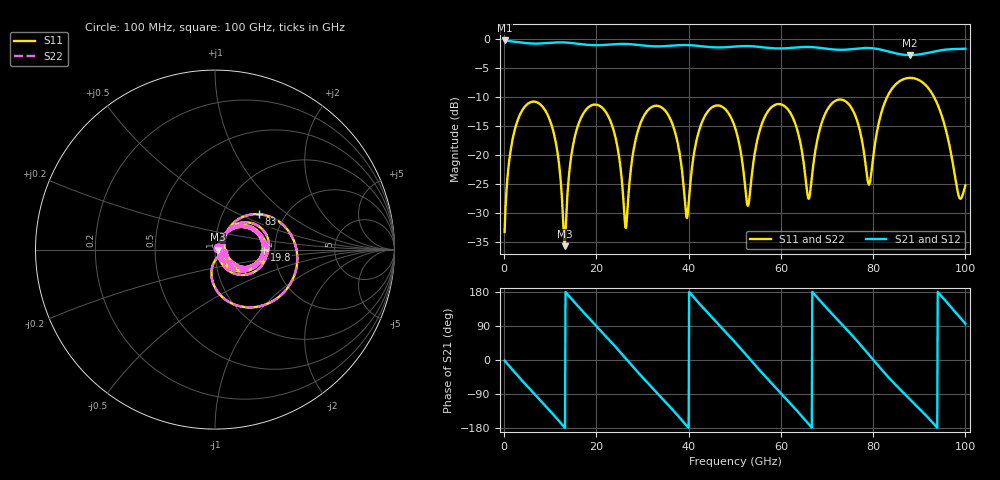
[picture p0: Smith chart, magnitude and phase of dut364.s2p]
! Touchstone file exported from HFSS 2026.1.0
!  File:  C:/ffzhzh/LocalFiles/Ansys_Project_Files/temp_train_TSV_RDL_364_1783711155_44652.aedt
!  Generated:  03:50:13 AM Jul 11, 2026
!  Design:  TSV_RDL
!  Project:  temp_train_TSV_RDL_364_1783711155_44652
! Variables:
!  h_bsmrdl = 2.7um
!  h_ox = 20um
!  h_rdl = 5um
!  h_sub = 54.17um
!  h_tmrdl = 3.55um
!  h_tsv = 54.17um
!  h_via = 3um
!  l_bsmrdl = 614.85um
!  l_sub = 4841.45um
!  l_tmrdl = 605.17um
!  m_sub = 200um
!  pitch = 40.06um
!  r_tsv = 6.21um
!  s_tmrdl = 10um
!  w_bsmrdl = 29.79um
!  w_sub = 500um
!  w_tmrdl = 28.95um
!  x_tsv_center1 = 619.645um
!  x_tsv_center2 = 1264.285um
!  x_tsv_center3 = 1898.405um
!  x_tsv_center4 = 2543.045um
!  x_tsv_center5 = 3177.165um
!  x_tsv_center6 = 3821.805um
# GHz S MA R 50.000000
! Terminal data exported
! Port[1] = TM_RDL1_1_T1
! Port[2] = TM_RDL5_1_T1
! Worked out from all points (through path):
!   1000 points, 100 MHz to 100 GHz, reference 50 ohm
!   highest |S21| = -0.17 dB at 100 MHz (marker M1); lowest = -2.7 dB at 88 GHz (marker M2)
!   group delay of S21, straight-line fit = 37.3 ps
!   lowest |S11| = -35.8 dB at 13.1 GHz (marker M3), VSWR 1.03, Z = 51.6 - j0.0549 ohm
!   |S11| at or under -10 dB: start of sweep to 83.01 GHz; 93.22 GHz to end of sweep
!   |S22| runs from -35.8 to -6.7 dB; largest |S21 - S12| = 5.3e-13
!   S11 on the Smith chart (normalised r, x): 100 MHz: 1.04, +0.02; 19.8 GHz: 1.75, -0.01; 83 GHz: 1.48, +0.65; 100 GHz: 1.11, -0.05
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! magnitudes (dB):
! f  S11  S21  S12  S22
! 100 MHz  -33.4  -0.2  -0.2  -33.4
! 2.3 GHz  -15.6  -0.4  -0.4  -15.6
! 6.6 GHz  -10.8  -0.7  -0.7  -10.8
! 10.7 GHz  -16.0  -0.5  -0.5  -16.0
! 13.1 GHz  -35.8  -0.5  -0.5  -35.8
! 16.8 GHz  -13.4  -0.8  -0.8  -13.4
! 19.8 GHz  -11.3  -1.0  -1.0  -11.3
! 26.4 GHz  -32.6  -0.8  -0.8  -32.6
! 29 GHz  -15.8  -0.9  -0.9  -15.8
! 33.4 GHz  -11.5  -1.2  -1.2  -11.5
! 39.6 GHz  -30.9  -1.0  -1.0  -31.1
! 43.7 GHz  -13.0  -1.2  -1.2  -13.0
! 50.1 GHz  -15.4  -1.2  -1.2  -15.4
! 52.8 GHz  -28.8  -1.1  -1.1  -29.0
! 58.9 GHz  -11.3  -1.5  -1.5  -11.3
! 66.7 GHz  -23.9  -1.3  -1.3  -23.9
! 72.9 GHz  -10.4  -1.8  -1.8  -10.4
! 79.2 GHz  -25.0  -1.5  -1.5  -24.9
! 83 GHz  -10.0  -2.0  -2.0  -10.0
! 83.4 GHz  -9.4  -2.1  -2.1  -9.4
! 88 GHz  -6.7  -2.7  -2.7  -6.7
! 100 GHz  -25.3  -1.6  -1.6  -25.3
